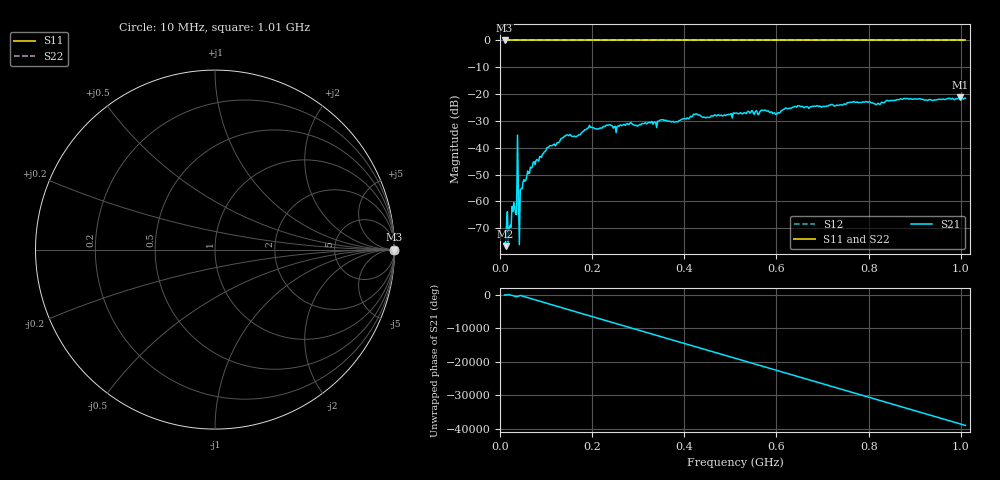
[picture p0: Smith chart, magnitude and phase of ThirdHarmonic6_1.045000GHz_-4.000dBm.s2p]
! 8/16/2025 9:08:07 AM
! C:\ANRITSUVNA\TEMP\TEMP.S2P
! CHANNEL.1
! TR.MEASUREMENT
! RAW.DATA
! RF.CORRECTION.OFF
! AVERAGING.OFF
! IF.BANDWIDTH: 5KHZ
! SWEEPTYPE:  FREQ.SWEEP(Linear)
! Reference Plane Port Info
! PORT:  PORT1  PORT2
! DISTANCE:  0  m  0  m
! TIME:  0  s  0  s
! PHASE.OFFSET:  0  deg.  0  deg.
! LOSS:  0  dB  0  dB
! REF.LOSS:  0  dB  0  dB
! REF.FREQ:  0  Hz  0  Hz
! Power Info
! POWER:  -20  dBm  -20  dBm
! EFF.POWER:  -20  dBm  -20  dBm
! SOURCE.ATTEN:  0  dB  0  dB
! TEST.ATTEN:  0  dB  0  dB
# GHZ S RI R 50.0
! FREQ.GHZ  S11RE  S11IM  S21RE  S21IM  S12RE  S12IM  S22RE  S22IM
!; PortSelection: Port_12
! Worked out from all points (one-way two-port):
!   501 points, 10 MHz to 1.01 GHz, reference 50 ohm
!   highest |S21| = -21.25 dB at 998 MHz (marker M1); lowest = -76.7 dB at 12 MHz (marker M2)
!   lowest |S11| = 0.0 dB at 10 MHz (marker M3)
!   |S11| at or under -10 dB: nowhere
!   |S22| runs from 0.0 to 0.0 dB; largest |S21 - S12| = 1.1
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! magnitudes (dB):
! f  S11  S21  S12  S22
! 10 MHz  0.0  -75.5  0.0  0.0
! 12 MHz  0.0  -76.7  0.0  0.0
! 30 MHz  0.0  -60.5  0.0  0.0
! 32 MHz  0.0  -62.3  0.0  0.0
! 34 MHz  0.0  -64.7  0.0  0.0
! 36 MHz  0.0  -64.8  0.0  0.0
! 38 MHz  0.0  -35.2  0.0  0.0
! 42 MHz  0.0  -76.1  0.0  0.0
! 44 MHz  0.0  -55.7  0.0  0.0
! 46 MHz  0.0  -55.2  0.0  0.0
! 48 MHz  0.0  -55.3  0.0  0.0
! 70 MHz  0.0  -47.2  0.0  0.0
! 106 MHz  0.0  -39.7  0.0  0.0
! 178 MHz  0.0  -34.2  0.0  0.0
! 196 MHz  0.0  -32.4  0.0  0.0
! 344 MHz  0.0  -30.2  0.0  0.0
! 510 MHz  0.0  -27.1  0.0  0.0
! 602 MHz  0.0  -27.1  0.0  0.0
! 678 MHz  0.0  -24.5  0.0  0.0
! 844 MHz  0.0  -22.6  0.0  0.0
! 998 MHz  0.0  -21.2  0.0  0.0
! 1.01 GHz  0.0  -21.5  0.0  0.0
